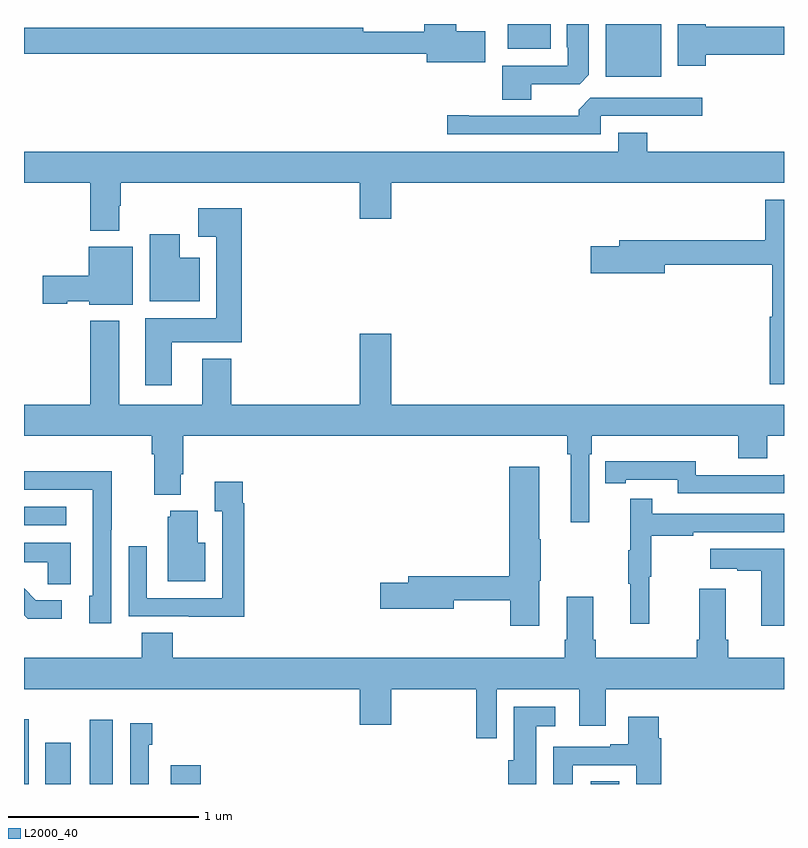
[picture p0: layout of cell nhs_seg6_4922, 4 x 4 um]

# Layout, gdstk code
import gdstk
lib = gdstk.Library(unit=1e-6, precision=1e-09)
def R(c, l, rs):  # rectangles x0, y0, x1, y1
    for r in rs: c.add(gdstk.rectangle(r[:2], r[2:], *l))
def P(c, l, *ps):  # polygons
    for p in ps: c.add(gdstk.Polygon(p, *l))
L2000_40 = (2000, 40)

nhs_seg6_4922 = lib.new_cell('nhs_seg6_4922')
R(nhs_seg6_4922, L2000_40, [(403,949.5,403.024,949.84), (403.112,949.5,403.246,949.717), (403.346,949.5,403.468,949.837), (403.772,949.5,403.93,949.6), (405.983,949.5,406.132,949.514), (403,950.862,403.222,950.958), (406.061,953.222,406.354,953.5), (405.545,953.369,405.772,953.5)])
P(nhs_seg6_4922, L2000_40, [(405.67,953.184),(405.924,953.184),(405.973,953.233),(405.973,953.5),(405.857,953.5),(405.857,953.377),(405.861,953.377),(405.861,953.28),(405.518,953.28),(405.518,953.101),(405.67,953.101)],
  [(406.589,953.339),(407,953.339),(407,953.486),(406.589,953.486),(406.589,953.5),(406.442,953.5),(406.442,953.28),(406.589,953.28)],
  [(405.427,953.463),(405.274,953.463),(405.274,953.5),(405.107,953.5),(405.107,953.46),(404.786,953.46),(404.786,953.48),(403,953.48),(403,953.344),(405.119,953.344),(405.119,953.3),(405.427,953.3)],
  [(406.035,953.016),(406.57,953.016),(406.57,953.112),(405.981,953.112),(405.92,953.05),(405.92,953.016),(405.34,953.016),(405.34,953.021),(405.228,953.021),(405.228,952.92),(406.035,952.92)],
  [(406.127,952.927),(406.127,952.828),(403,952.828),(403,952.664),(403.349,952.664),(403.349,952.412),(403.501,952.412),(403.501,952.544),(403.509,952.544),(403.509,952.664),(404.768,952.664),(404.768,952.476),(404.932,952.476),(404.932,952.664),(407,952.664),(407,952.828),(406.28,952.828),(406.28,952.927)],
  [(407,952.576),(406.901,952.576),(406.901,952.363),(406.133,952.363),(406.133,952.329),(405.984,952.329),(405.984,952.187),(406.372,952.187),(406.372,952.234),(406.937,952.234),(406.937,951.958),(406.925,951.958),(406.925,951.603),(407,951.603)],
  [(403.777,951.824),(404.147,951.824),(404.147,952.531),(403.917,952.531),(403.917,952.379),(404.012,952.379),(404.012,951.952),(403.637,951.952),(403.637,951.6),(403.777,951.6)],
  [(403.924,952.27),(403.819,952.27),(403.819,952.393),(403.661,952.393),(403.661,952.04),(403.924,952.04)],
  [(403.573,952.327),(403.34,952.327),(403.34,952.175),(403.098,952.175),(403.098,952.028),(403.227,952.028),(403.227,952.04),(403.344,952.04),(403.344,952.022),(403.573,952.022)],
  [(405.975,951.236),(405.989,951.236),(405.989,951.332),(406.76,951.332),(406.76,951.215),(406.913,951.215),(406.913,951.332),(407,951.332),(407,951.496),(404.932,951.496),(404.932,951.871),(404.768,951.871),(404.768,951.496),(404.09,951.496),(404.09,951.739),(403.937,951.739),(403.937,951.496),(403.501,951.496),(403.501,951.937),(403.349,951.937),(403.349,951.496),(403,951.496),(403,951.332),(403.673,951.332),(403.673,951.236),(403.685,951.236),(403.685,951.023),(403.825,951.023),(403.825,951.13),(403.838,951.13),(403.838,951.332),(405.859,951.332),(405.859,951.236),(405.878,951.236),(405.878,950.877),(405.975,950.877)],
  [(407,951.128),(406.996,951.128),(406.996,951.126),(406.536,951.126),(406.536,951.199),(406.168,951.199),(406.168,951.198),(406.06,951.198),(406.06,951.082),(406.168,951.082),(406.168,951.102),(406.44,951.102),(406.44,951.03),(407,951.03)],
  [(405.712,950.571),(405.72,950.571),(405.72,950.789),(405.712,950.789),(405.712,951.169),(405.554,951.169),(405.554,950.594),(405.023,950.594),(405.023,950.558),(404.874,950.558),(404.874,950.423),(405.262,950.423),(405.262,950.466),(405.559,950.466),(405.559,950.334),(405.712,950.334)],
  [(403.458,950.839),(403.461,950.839),(403.461,951.146),(403,951.146),(403,951.048),(403.362,951.048),(403.362,950.49),(403.343,950.49),(403.343,950.346),(403.458,950.346)],
  [(404.159,950.978),(404.152,950.978),(404.152,951.091),(404.003,951.091),(404.003,950.935),(404.043,950.935),(404.043,950.478),(403.647,950.478),(403.647,950.752),(403.551,950.752),(403.551,950.382),(403.867,950.382),(403.867,950.381),(404.159,950.381)],
  [(406.292,950.592),(406.3,950.592),(406.3,950.806),(406.523,950.806),(406.523,950.826),(407,950.826),(407,950.922),(406.307,950.922),(406.307,951.001),(406.19,951.001),(406.19,950.729),(406.179,950.729),(406.179,950.555),(406.19,950.555),(406.19,950.343),(406.292,950.343)],
  [(403.954,950.77),(403.915,950.77),(403.915,950.938),(403.769,950.938),(403.769,950.907),(403.757,950.907),(403.757,950.567),(403.954,950.567)],
  [(403.246,950.77),(403,950.77),(403,950.666),(403.125,950.666),(403.125,950.551),(403.246,950.551)],
  [(407,950.737),(406.611,950.737),(406.611,950.633),(406.754,950.633),(406.754,950.623),(406.88,950.623),(406.88,950.334),(407,950.334)],
  [(403.198,950.466),(403.063,950.466),(403,950.529),(403,950.388),(403.019,950.369),(403.198,950.369)],
  [(405.489,950),(405.923,950),(405.923,949.806),(406.063,949.806),(406.063,950),(407,950),(407,950.164),(406.706,950.164),(406.706,950.26),(406.693,950.26),(406.693,950.527),(406.553,950.527),(406.553,950.26),(406.541,950.26),(406.541,950.164),(406.01,950.164),(406.01,950.26),(405.997,950.26),(405.997,950.485),(405.857,950.485),(405.857,950.26),(405.845,950.26),(405.845,950.164),(403.784,950.164),(403.784,950.297),(403.619,950.297),(403.619,950.164),(403,950.164),(403,950),(404.768,950),(404.768,949.812),(404.932,949.812),(404.932,950),(405.381,950),(405.381,949.74),(405.489,949.74)],
  [(405.697,949.805),(405.796,949.805),(405.796,949.906),(405.578,949.906),(405.578,949.626),(405.548,949.626),(405.548,949.5),(405.697,949.5)],
  [(405.889,949.599),(406.223,949.599),(406.223,949.5),(406.355,949.5),(406.355,949.742),(406.342,949.742),(406.342,949.855),(406.181,949.855),(406.181,949.708),(406.085,949.708),(406.085,949.695),(405.785,949.695),(405.785,949.5),(405.889,949.5)],
  [(403.656,949.706),(403.676,949.706),(403.676,949.819),(403.56,949.819),(403.56,949.5),(403.656,949.5)])

lib.write_gds('nhs_seg6_4922.gds')
